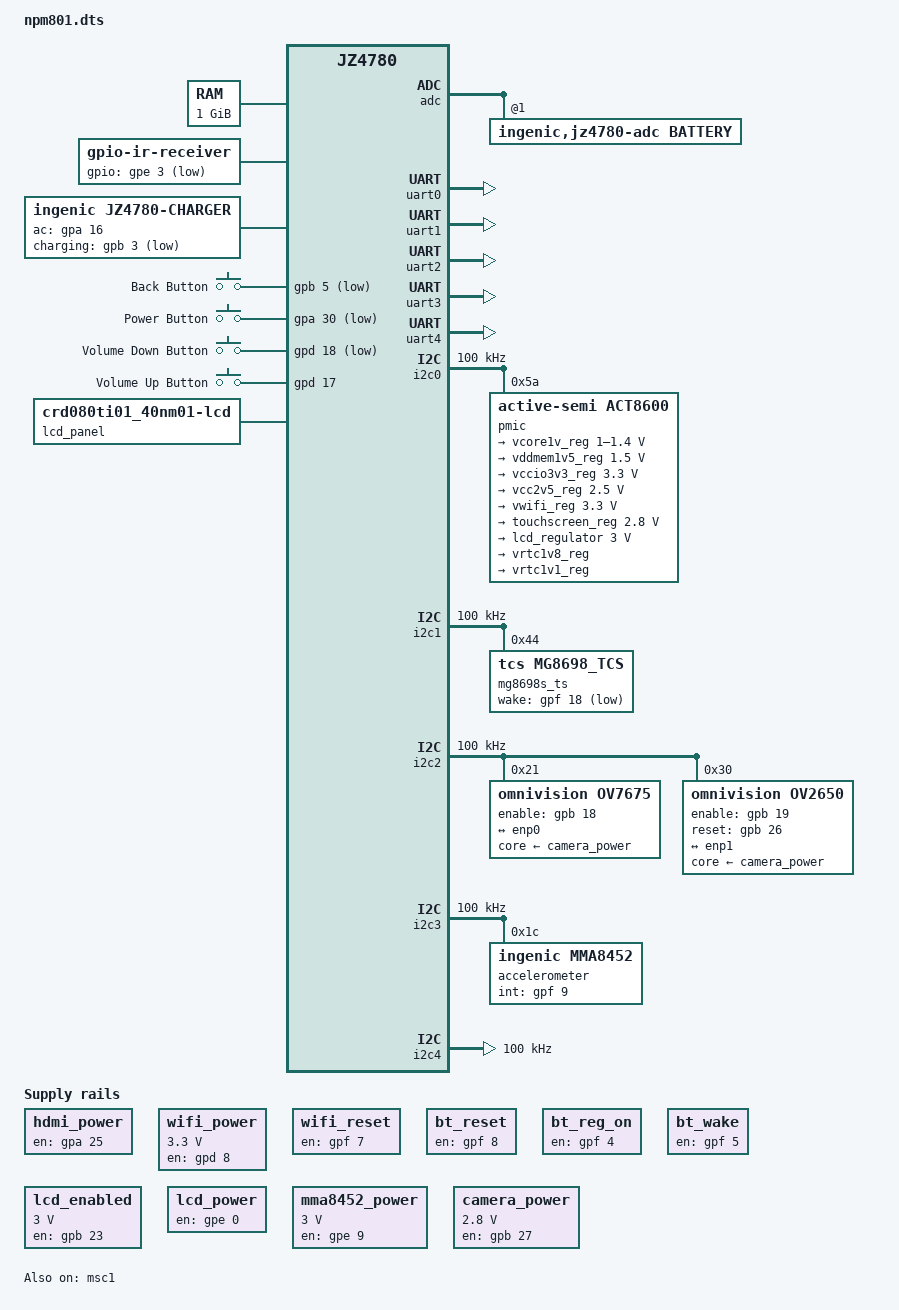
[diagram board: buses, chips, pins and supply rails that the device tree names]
/dts-v1/;
#include <dt-bindings/gpio/gpio.h>
#include <dt-bindings/input/input.h>
#include <dt-bindings/net/rfkill-regulator.h>
#include "jz4780.dtsi"

/ {
	compatible = "ingenic,npm801", "ingenic,jz4780";

	aliases {
		serial0 = &uart0;
		serial1 = &uart1;
		serial3 = &uart3;
		serial4 = &uart4;
	};

	chosen {
		stdout-path = &uart4;
	};

	memory {
		device_type = "memory";
		reg = <0x0 0x10000000
		       0x30000000 0x30000000>;
	};

	audio: audio-npm801 {
		compatible = "ingenic,npm801-audio";
		ingenic,i2s-controller = <&i2s>;
		ingenic,codec = <&codec>;
	};

	hdmi_power: fixedregulator@0 {
		compatible = "regulator-fixed";
		regulator-name = "hdmi_power";
		gpio = <&gpa 25 GPIO_ACTIVE_LOW>;
		enable-active-high;
		regulator-always-on;
	};

	wifi_power: fixedregulator@1 {
		compatible = "regulator-fixed";
		regulator-name = "wifi_power_gpio";
		gpio = <&gpd 8 0>;
		enable-active-high;

		regulator-min-microvolt = <3300000>;
		regulator-max-microvolt = <3300000>;

	};

	/* HACK: Keeping wifi reset high. No simple driver fix */
	wifi_reset: fixedregulator@2 {
		compatible = "regulator-fixed";
		regulator-name = "wifi_reset_gpio";
		gpio = <&gpf 7 0>;
		enable-active-high;
		regulator-always-on;
	};

	/* HACK: Keeping BT reset high. No simple driver fix */
	bt_reset: fixedregulator@3 {
		compatible = "regulator-fixed";
		regulator-name = "bt_reset_gpio";
		gpio = <&gpf 8 0>;
		enable-active-high;
	};

	/* HACK: Keeping BT_reg_on high. No simple driver fix */
	bt_reg_on: fixedregulator@4 {
		compatible = "regulator-fixed";
		regulator-name = "bt_reg_on_gpio";
		gpio = <&gpf 4 0>;
		enable-active-high;
		regulator-always-on;
	};

	/* HACK: Keeping BT wake high. No simple driver fix */
	bt_wake: fixedregulator@5 {
		compatible = "regulator-fixed";
		regulator-name = "bt_wake_gpio";
		gpio = <&gpf 5 0>;
		enable-active-high;
		regulator-always-on;
	};

	lcd_enabled: fixedregulator@6 {
		compatible = "regulator-fixed";
		regulator-name = "vccio3v0_reg";
		regulator-min-microvolt = <3000000>;
		regulator-max-microvolt = <3000000>;
		gpio = <&gpb 23 0>;
		enable-active-high;
	};

	lcd_power: fixedregulator@7 {
		compatible = "regulator-fixed";
		regulator-name = "lcd_power";
		gpio = <&gpe 0 0>;
		regulator-boot-on;
		enable-active-high;
		regulator-always-on;
	};

	mma8452_power: fixedregulator@8 {
		compatible = "regulator-fixed";
		regulator-name = "mma8452_power";
		regulator-min-microvolt = <3000000>;
		regulator-max-microvolt = <3000000>;
		gpio = <&gpe 9 0>;
		enable-active-high;
	};

	camera_power: fixedregulator@9 {
		compatible = "regulator-fixed";
		regulator-name = "camera_power";
		regulator-min-microvolt = <2800000>;
		regulator-max-microvolt = <2800000>;
		gpio = <&gpb 27 0>;
		enable-active-high;
	};

	ir: ir-receiver {
		compatible = "gpio-ir-receiver";
		gpios = <&gpe 3 GPIO_ACTIVE_LOW>;
	};

	bt-rfkill {
		compatible = "rfkill-regulator";
		label = "bt-reset";
		type = <RFKILL_TYPE_BLUETOOTH>;
		vrfkill-supply = <&bt_reset>;
	};

	charger {
		compatible = "ingenic,jz4780-charger";
		gpio-ac = <&gpa 16 GPIO_ACTIVE_HIGH>;
		gpio-charging = <&gpb 3 GPIO_ACTIVE_LOW>;
	};

	gpio-keys {
		compatible = "gpio-keys";

		back_button {
			label = "Back Button";
			gpios = <&gpb  5 GPIO_ACTIVE_LOW>;
			linux,code = <KEY_BACK>;
		};

		power_button {
			label = "Power Button";
			gpios = <&gpa  30 GPIO_ACTIVE_LOW>;
			linux,code = <KEY_POWER>;
			gpio-key,wakeup;
		};

		volume_down_button {
			label = "Volume Down Button";
			gpios = <&gpd  18 GPIO_ACTIVE_LOW>;
			linux,code = <KEY_VOLUMEDOWN>;
		};

		volume_up_button {
			label = "Volume Up Button";
			gpios = <&gpd  17 0>;
			linux,code = <KEY_VOLUMEUP>;
		};
	};

	lcd_panel: backlight@1 {
		compatible = "crd080ti01_40nm01-lcd";
	};

	fw: firmware {};
};

&adc {
	battery: jz4780-battery@1 {
		compatible = "ingenic,jz4780-adc,battery", "ingenic,jz4780-battery";
		max-vol = <4080>;
		min-vol = <3600>;
		usb-max-vol = <4100>;
		usb-min-vol = <3760>;
		ac-max-vol = <4150>;
		ac-min-vol = <3760>;
		battery-max-cpt = <3500>;
		ac-chg-current = <1000>;
		usb-chg-current = <400>;
		sleep-current = <30>;
	};
};

&ext {
	clock-frequency = <48000000>;
};

&lcd {
	max-width = <1024>;
	max-height = <768>;

	clocks = <&cgu JZ4780_CLK_TVE>, <&cgu JZ4780_CLK_LCD0PIXCLK>, <&cgu JZ4780_CLK_LCD>, <&cgu JZ4780_CLK_LCD1PIXCLK>;
	clock-names = "lcd_clk", "lcd_pixclk", "lcd1_clk", "lcd1_pixclk";
};

&msc0 {
	bus-width = <4>;
	max-frequency = <50000000>;
	cd-gpios = <&gpf 20 GPIO_ACTIVE_LOW>;

	pinctrl-names = "default";
	pinctrl-0 = <&pins_msc0_pe>;
};

&msc1 {
	bus-width = <4>;
	max-frequency = <24000000>;
	status = "okay";

	pinctrl-names = "default";
	pinctrl-0 = <&pins_msc1_pd>;
	vmmc-supply = <&wifi_power>;

	keep-power-in-suspend;
};

&ehci {
	ingenic,vbus-gpio = <&gpf 15 0>;
};

&uart0 {
	pinctrl-names = "default";
	pinctrl-0 = <&pins_uart0_data>;
	status = "okay";
};

&uart1 {
	pinctrl-names = "default";
	pinctrl-0 = <&pins_uart1_data>;
	status = "okay";
};

&uart2 {
	pinctrl-names = "default";
	pinctrl-0 = <&pins_uart2_dataplusflow>;
	status = "okay";
};

&uart3 {
	pinctrl-names = "default";
	pinctrl-0 = <&pins_uart3_data>;
	status = "okay";
};

&uart4 {
	pinctrl-names = "default";
	pinctrl-0 = <&pins_uart4_data>;
	status = "okay";
};

&i2c0 {
	clock-frequency = <100000>;
	pinctrl-names = "default";
	pinctrl-0 = <&pins_i2c0_data>;

	pmic: act8600@5a {
		compatible = "active-semi,act8600";
		reg = <0x5a>;

		regulators {
			vcore1v_reg: DCDC_REG1 {
				regulator-name = "vcore1v2";
				regulator-min-microvolt = <1000000>;
				regulator-max-microvolt = <1400000>;
				regulator-always-on;
			};

			vddmem1v5_reg: DCDC_REG2 {
				regulator-name = "vddmem1v5";
				regulator-min-microvolt = <1500000>;
				regulator-max-microvolt = <1500000>;
				regulator-always-on;
			};

			vccio3v3_reg: DCDC_REG3 {
				regulator-name = "vccio3v3";
				regulator-min-microvolt = <3300000>;
				regulator-max-microvolt = <3300000>;
				regulator-always-on;
			};

			vcc2v5_reg: LDO_REG5 {
				regulator-name = "vcc2.5";
				regulator-min-microvolt = <2500000>;
				regulator-max-microvolt = <2500000>;
				regulator-always-on;
			};

			vwifi_reg: LDO_REG6 {
				regulator-name = "vwifi3v3";
				regulator-min-microvolt = <3300000>;
				regulator-max-microvolt = <3300000>;
			};

			touchscreen_reg: LDO_REG7 {
				regulator-name = "mg8698s_2v8";
				regulator-min-microvolt = <2800000>;
				regulator-max-microvolt = <2800000>;
			};

			lcd_regulator: LDO_REG8 {
				regulator-name = "lcd3v0";
				regulator-min-microvolt = <3000000>;
				regulator-max-microvolt = <3000000>;
				regulator-boot-on;
				regulator-always-on;
			};

			/* Do not disable RTC as they connect to reset line */
			vrtc1v8_reg: LDO_REG9 {
				regulator-name = "vrtc1v8";
				regulator-always-on;
			};

			vrtc1v1_reg: LDO_REG10 {
				regulator-name = "vrtc1v2";
				regulator-always-on;
			};
		};
	};
};

&i2c1 {
	clock-frequency = <100000>;
	pinctrl-names = "default";
	pinctrl-0 = <&pins_i2c1_data>;

	mg8698s_ts {
		compatible = "tcs,mg8698_tcs";
		reg = <0x44>;

		wake-gpios = <&gpf 18 GPIO_ACTIVE_LOW>;
		interrupt = <&gpf 19 GPIO_ACTIVE_LOW>;

		x-size = <1344>;
		y-size = <960>;
	};

};

&i2c2 {
	clock-frequency = <100000>;
	pinctrl-names = "default";
	pinctrl-0 = <&pins_i2c2_data>;

	ov7675@0x21 {
		compatible = "omnivision,ov7675";
		reg = <0x21>;

		core-supply = <&camera_power>;

		gpio-enable = <&gpb 18 0>;

		remote = <&cim>;
		port {
			ov7675_1: endpoint {
				bus-width = <8>;
				remote-endpoint = <&enp0>;
			};
		};
	};

	ov2650@0x30 {
		compatible = "omnivision,ov2650";
		reg = <0x30>;

		core-supply = <&camera_power>;

		gpio-enable = <&gpb 19 0>;
		gpio-reset = <&gpb 26 0>;

		remote = <&cim>;
		port {
			ov2650_1: endpoint {
				bus-width = <8>;
				remote-endpoint = <&enp1>;
			};
		};
	};
};

&i2c3 {
	clock-frequency = <100000>;
	pinctrl-names = "default";
	pinctrl-0 = <&pins_i2c3_data>;

	accelerometer: mma8452@1c {
		compatible = "ingenic,mma8452";
		reg = <0x1c>;

		gpio-int = <&gpf 9 0>;
		poll-interval = <100>;
		min-interval = <40>;
		max-interval = <200>;
		g-range = /bits/ 8 <0>;
		axis-map-x = /bits/ 8 <0>;
		axis-map-y = /bits/ 8 <1>;
		axis-map-z = /bits/ 8 <2>;
		negate-x = /bits/ 8 <1>;
		negate-y = /bits/ 8 <1>;
		negate-z = /bits/ 8 <1>;

		ori-pr_swap = /bits/ 8 <0>;
		ori-pith_negate = /bits/ 8 <0>;
		ori-roll_negate = /bits/ 8 <1>;
	};
};

&i2c4 {
	clock-frequency = <100000>;
	pinctrl-names = "default";
	pinctrl-0 = <&pins_i2c4_data_pf>;
};

&cim {
	clock-frequency = <24000000>;

	ports {
		#address-cells = <1>;
		#size-cells = <0>;

		port@0 {
			reg = <0>;

			enp0: endpoint {
				remote-endpoint = <&ov7675_1>;
				hsync-active = <1>;
				vsync-active = <1>;
				pclk-sample = <0>;
			};
		};

		port@1 {
			reg = <1>;

			enp1: endpoint {
				remote-endpoint = <&ov2650_1>;
				hsync-active = <1>;
				vsync-active = <1>;
				pclk-sample = <0>;
			};
		};
	};
};

